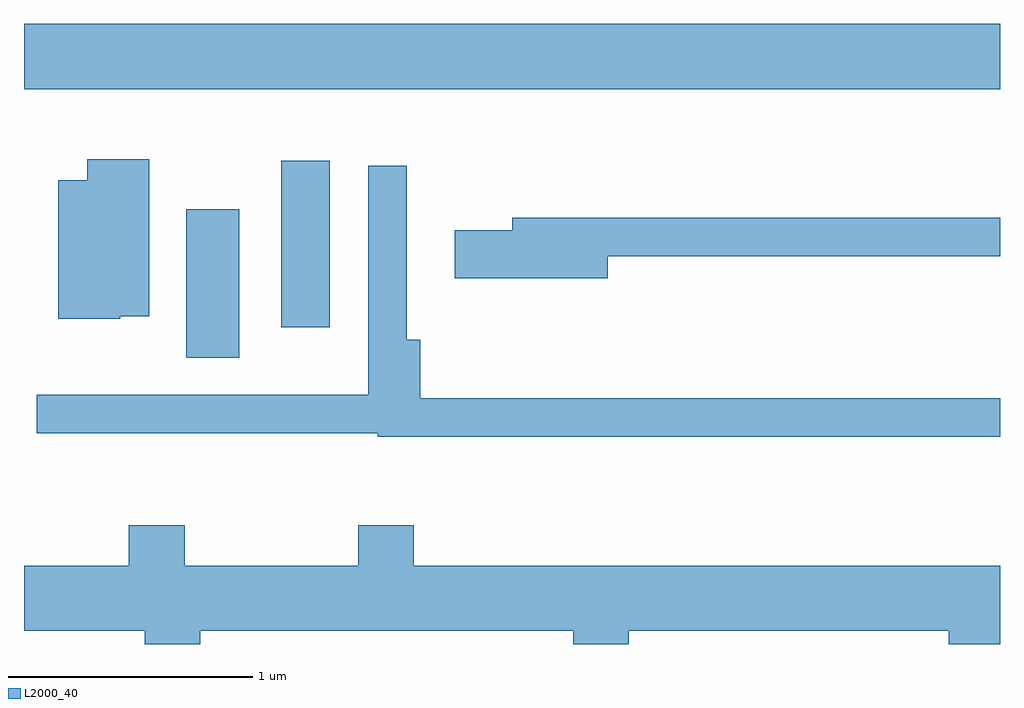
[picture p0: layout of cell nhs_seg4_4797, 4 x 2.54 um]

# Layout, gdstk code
import gdstk
lib = gdstk.Library(unit=1e-6, precision=1e-09)
def R(c, l, rs):  # rectangles x0, y0, x1, y1
    for r in rs: c.add(gdstk.rectangle(r[:2], r[2:], *l))
def P(c, l, *ps):  # polygons
    for p in ps: c.add(gdstk.Polygon(p, *l))
L2000_40 = (2000, 40)

nhs_seg4_4797 = lib.new_cell('nhs_seg4_4797')
R(nhs_seg4_4797, L2000_40, [(326.276,1329.156,326.494,1329.764), (326.666,1329.281,326.864,1329.964), (325.611,1330.256,329.611,1330.524)])
P(nhs_seg4_4797, L2000_40, [(326.005,1329.326),(326.124,1329.326),(326.124,1329.969),(325.871,1329.969),(325.871,1329.884),(325.751,1329.884),(325.751,1329.316),(326.005,1329.316)],
  [(329.611,1328.989),(327.234,1328.989),(327.234,1329.229),(327.179,1329.229),(327.179,1329.943),(327.021,1329.943),(327.021,1329.004),(325.663,1329.004),(325.663,1328.846),(327.06,1328.846),(327.06,1328.831),(329.611,1328.831)],
  [(328.004,1329.571),(329.611,1329.571),(329.611,1329.729),(327.611,1329.729),(327.611,1329.679),(327.376,1329.679),(327.376,1329.481),(328.004,1329.481)],
  [(326.106,1327.982),(326.334,1327.982),(326.334,1328.036),(327.861,1328.036),(327.861,1327.982),(328.089,1327.982),(328.089,1328.036),(329.401,1328.036),(329.401,1327.982),(329.611,1327.982),(329.611,1328.304),(327.209,1328.304),(327.209,1328.469),(326.981,1328.469),(326.981,1328.304),(326.269,1328.304),(326.269,1328.469),(326.041,1328.469),(326.041,1328.304),(325.611,1328.304),(325.611,1328.036),(326.106,1328.036)])

lib.write_gds('nhs_seg4_4797.gds')
